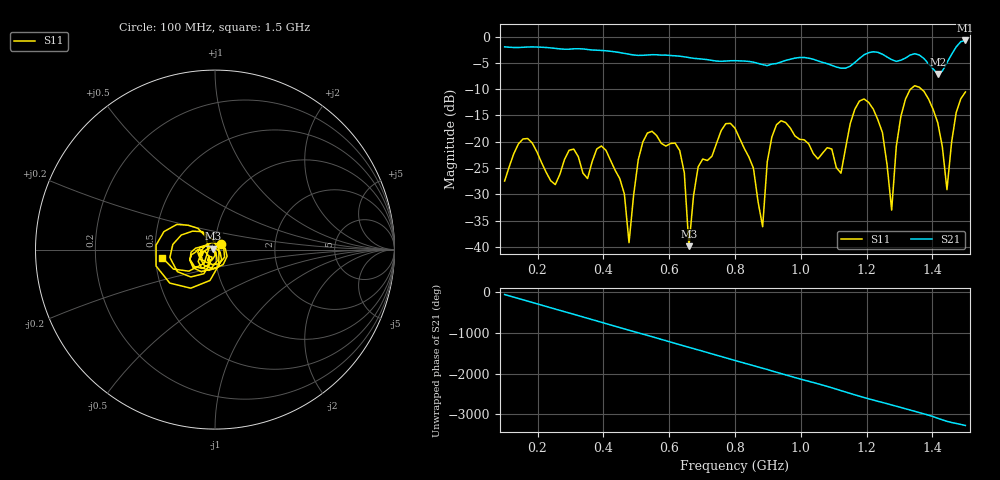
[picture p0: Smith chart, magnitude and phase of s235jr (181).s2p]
! NanoVNA-App
! Date: 2025-09-25 15:05:34
! Start: 100MHz Stop: 1,5GHz Points: 101
! S-Parameter data: F S11 S21 S12 S22
# Hz S RI R 50
!  Frequency  S11_Real  S11_Imag  S21_Real  S21_Imag  S12_Real  S12_Imag  S22_Real  S22_Imag
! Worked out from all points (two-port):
!   101 points, 100 MHz to 1.5 GHz, reference 50 ohm
!   highest |S21| = -0.75 dB at 1.5 GHz (marker M1); lowest = -7.1 dB at 1.416 GHz (marker M2)
!   |S21| within 3 dB of the highest: start of sweep to 633.1 MHz; 1.187 GHz to 1.258 GHz (71.43 MHz wide, 5.84 % of centre) (the widest 2 of 4)
!   lowest |S11| = -39.9 dB at 660 MHz (marker M3), VSWR 1.02, Z = 49.2 + j0.562 ohm
!   |S11| at or under -10 dB: start of sweep to 1.333 GHz; 1.366 GHz to end of sweep
!   S12 and S22 are empty: the file has one direction only
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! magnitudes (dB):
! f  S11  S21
! 100 MHz  -27.5  -2.0
! 156 MHz  -19.5  -2.0
! 338 MHz  -26.0  -2.4
! 408 MHz  -21.6  -2.7
! 478 MHz  -39.2  -3.4
! 520 MHz  -20.0  -3.6
! 576 MHz  -20.3  -3.5
! 632 MHz  -21.7  -3.7
! 660 MHz  -39.9  -4.0
! 688 MHz  -24.8  -4.2
! 800 MHz  -17.4  -4.6
! 884 MHz  -36.2  -5.3
! 926 MHz  -16.8  -5.1
! 1.038 GHz  -22.3  -4.3
! 1.122 GHz  -26.0  -6.0
! 1.192 GHz  -11.9  -3.5
! 1.248 GHz  -18.3  -3.4
! 1.276 GHz  -33.0  -4.4
! 1.332 GHz  -10.1  -3.5
! 1.416 GHz  -16.4  -7.1
! 1.444 GHz  -29.1  -5.0
! 1.5 GHz  -10.5  -0.8
